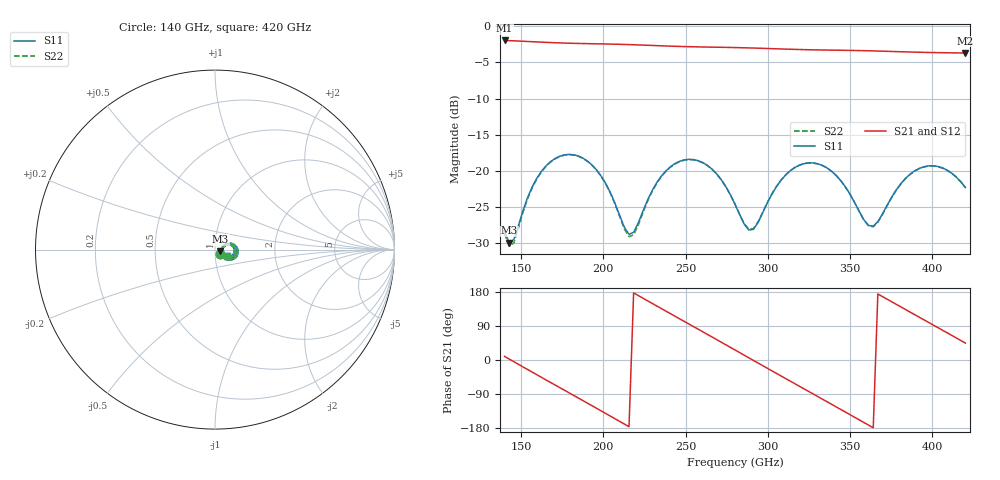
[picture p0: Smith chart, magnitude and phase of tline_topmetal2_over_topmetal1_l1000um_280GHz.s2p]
#  GHZ S DB R 50
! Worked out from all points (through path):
!   101 points, 140 GHz to 420 GHz, reference 50 ohm
!   highest |S21| = -1.97 dB at 140 GHz (marker M1); lowest = -3.7 dB at 420 GHz (marker M2)
!   group delay of S21, straight-line fit = 6.79 ps
!   lowest |S11| = -29.9 dB at 142.8 GHz (marker M3), VSWR 1.07, Z = 53.1 - j1.07 ohm
!   |S11| at or under -10 dB: start of sweep to end of sweep
!   |S22| runs from -30.4 to -17.8 dB; largest |S21 - S12| = 8.8e-14
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140  -28.42 -37.7  -1.97 9.5  -1.97 9.5  -28.70 -39.8
142.8  -29.93 -18.4  -2.00 2.5  -2.00 2.5  -30.40 -19.7
154  -23.66 27.1  -2.12 -25.1  -2.12 -25.1  -23.82 28.2
168  -18.71 11.3  -2.26 -59.4  -2.26 -59.4  -18.76 11.8
187.6  -18.23 -22.9  -2.40 -107.2  -2.40 -107.2  -18.27 -22.8
201.6  -21.81 -41.7  -2.46 -141.5  -2.46 -141.5  -21.86 -42.1
215.6  -28.76 -14.1  -2.55 -176.0  -2.55 -176.0  -29.09 -14.3
235.2  -20.73 19.3  -2.71 135.8  -2.71 135.8  -20.81 20.4
246.4  -18.66 3.0  -2.80 108.5  -2.80 108.5  -18.72 4.0
257.6  -18.58 -15.4  -2.86 81.3  -2.86 81.3  -18.62 -14.5
280  -24.61 -36.9  -2.96 26.5  -2.96 26.5  -24.60 -35.8
291.2  -28.08 0.9  -3.02 -1.1  -3.02 -1.1  -27.97 1.5
302.4  -23.22 22.9  -3.10 -28.5  -3.10 -28.5  -23.18 23.1
316.4  -19.52 9.0  -3.21 -62.6  -3.21 -62.6  -19.52 9.3
327.6  -18.90 -8.2  -3.27 -89.8  -3.27 -89.8  -18.91 -7.8
338.8  -20.06 -24.5  -3.31 -117.1  -3.31 -117.1  -20.07 -24.2
352.8  -24.41 -32.6  -3.36 -151.4  -3.36 -151.4  -24.44 -32.3
364  -27.64 -1.5  -3.42 -178.9  -3.42 -178.9  -27.71 -0.9
375.2  -23.63 21.4  -3.49 153.7  -3.49 153.7  -23.68 22.2
397.6  -19.31 -2.0  -3.63 99.2  -3.63 99.2  -19.33 -1.0
408.8  -19.88 -18.1  -3.68 72.0  -3.68 72.0  -19.90 -17.0
420  -22.29 -29.6  -3.71 44.7  -3.71 44.7  -22.29 -28.3
